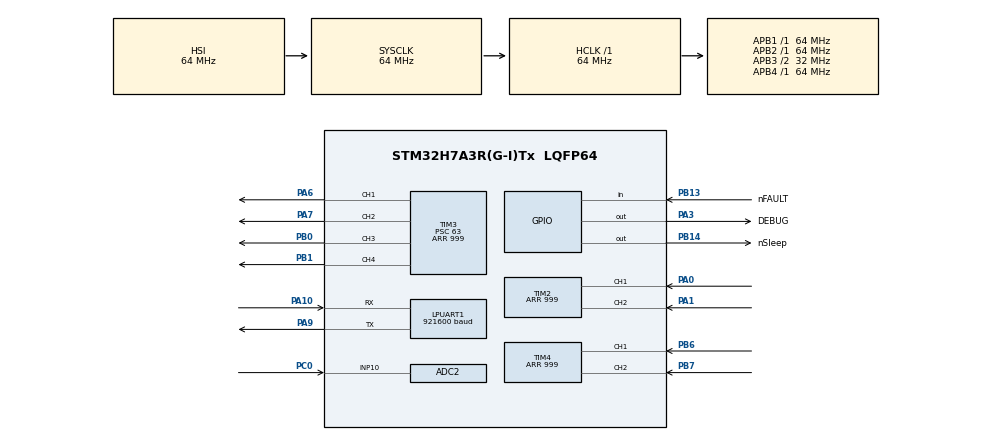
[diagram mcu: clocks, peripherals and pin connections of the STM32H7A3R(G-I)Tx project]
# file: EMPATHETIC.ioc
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ADC2.Channel-0\#ChannelRegularConversion=ADC_CHANNEL_10
ADC2.ClockPrescaler=ADC_CLOCK_ASYNC_DIV1
ADC2.ContinuousConvMode=DISABLE
ADC2.ConversionDataManagement=ADC_CONVERSIONDATA_DMA_CIRCULAR
ADC2.ExternalTrigConv=ADC_EXTERNALTRIG_T15_TRGO
ADC2.NbrOfConversionFlag=1
ADC2.OversamplingMode=ENABLE
ADC2.Ratio=16
ARM.CMSIS.5.7.0.CMSISJjCORE=true
ARM.CMSIS.5.7.0.CMSISJjDSP=Library
Dma.ADC2.0.Direction=DMA_PERIPH_TO_MEMORY
Dma.ADC2.0.EventEnable=DISABLE
Dma.ADC2.0.FIFOMode=DMA_FIFOMODE_DISABLE
Dma.ADC2.0.Instance=DMA1_Stream0
Dma.ADC2.0.MemDataAlignment=DMA_MDATAALIGN_WORD
Dma.ADC2.0.MemInc=DMA_MINC_ENABLE
Dma.ADC2.0.Mode=DMA_CIRCULAR
Dma.ADC2.0.PeriphDataAlignment=DMA_PDATAALIGN_WORD
Dma.ADC2.0.PeriphInc=DMA_PINC_DISABLE
Dma.ADC2.0.Polarity=HAL_DMAMUX_REQ_GEN_RISING
Dma.ADC2.0.Priority=DMA_PRIORITY_LOW
Dma.ADC2.0.RequestNumber=1
Dma.ADC2.0.SignalID=NONE
Dma.ADC2.0.SyncEnable=DISABLE
Dma.ADC2.0.SyncPolarity=HAL_DMAMUX_SYNC_NO_EVENT
Dma.ADC2.0.SyncRequestNumber=1
Dma.ADC2.0.SyncSignalID=NONE
Dma.Request0=ADC2
LPUART1.BaudRate=921600
Mcu.Family=STM32H7
Mcu.Name=STM32H7A3R(G-I)Tx
Mcu.Package=LQFP64
NVIC.DMA1_Stream0_IRQn=true\:0\:0\:false\:false\:true\:false\:true\:true
NVIC.PriorityGroup=NVIC_PRIORITYGROUP_4
PA0.Signal=S_TIM2_CH1_ETR
PA1.Signal=S_TIM2_CH2
PA10.Mode=Asynchronous
PA10.Signal=LPUART1_RX
PA3.GPIO_Label=DEBUG
PA3.GPIO_Speed=GPIO_SPEED_FREQ_MEDIUM
PA3.Signal=GPIO_Output
PA6.Signal=S_TIM3_CH1
PA7.Signal=S_TIM3_CH2
PA9.Mode=Asynchronous
PA9.Signal=LPUART1_TX
PB0.Signal=S_TIM3_CH3
PB1.Signal=S_TIM3_CH4
PB13.GPIO_Label=nFAULT
PB13.GPIO_PuPd=GPIO_PULLUP
PB13.Signal=GPIO_Input
PB14.GPIO_Label=nSleep
PB14.GPIO_PuPd=GPIO_NOPULL
PB14.PinState=GPIO_PIN_RESET
PB14.Signal=GPIO_Output
PB6.Signal=S_TIM4_CH1
PB7.Signal=S_TIM4_CH2
PC0.Signal=ADCx_INP10
ProjectManager.HeapSize=0x200
ProjectManager.StackSize=0x400
ProjectManager.TargetToolchain=STM32CubeIDE
RCC.ADCFreq_Value=50000000
RCC.APB1Freq_Value=64000000
RCC.APB2Freq_Value=64000000
RCC.APB3Freq_Value=32000000
RCC.APB4Freq_Value=64000000
RCC.CDPPRE=RCC_APB3_DIV2
RCC.CortexFreq_Value=64000000
RCC.DIVM2=16
RCC.DIVN2=50
RCC.DIVP2=4
RCC.HCLKFreq_Value=64000000
RCC.SYSCLKFreq_VALUE=64000000
RCC.USBFreq_Value=129000000
SH.ADCx_INP10.0=ADC2_INP10,IN10-Single-Ended
SH.S_TIM2_CH1_ETR.0=TIM2_CH1,Encoder_Interface
SH.S_TIM2_CH2.0=TIM2_CH2,Encoder_Interface
SH.S_TIM3_CH1.0=TIM3_CH1,PWM Generation1 CH1
SH.S_TIM3_CH2.0=TIM3_CH2,PWM Generation2 CH2
SH.S_TIM3_CH3.0=TIM3_CH3,PWM Generation3 CH3
SH.S_TIM3_CH4.0=TIM3_CH4,PWM Generation4 CH4
SH.S_TIM4_CH1.0=TIM4_CH1,Encoder_Interface
SH.S_TIM4_CH2.0=TIM4_CH2,Encoder_Interface
TIM15.Period=39
TIM15.Prescaler=63
TIM15.TIM_MasterOutputTrigger=TIM_TRGO_UPDATE
TIM2.EncoderMode=TIM_ENCODERMODE_TI12
TIM2.Period=999
TIM3.AutoReloadPreload=TIM_AUTORELOAD_PRELOAD_ENABLE
TIM3.Channel-PWM\ Generation1\ CH1=TIM_CHANNEL_1
TIM3.Channel-PWM\ Generation2\ CH2=TIM_CHANNEL_2
TIM3.Channel-PWM\ Generation3\ CH3=TIM_CHANNEL_3
TIM3.Channel-PWM\ Generation4\ CH4=TIM_CHANNEL_4
TIM3.Period=999
TIM3.Prescaler=63
TIM4.EncoderMode=TIM_ENCODERMODE_TI12
TIM4.Period=999
VP_ARM.CMSIS_VS_CMSISJjCORE_5.4.0_5.7.0.Mode=CMSISJjCORE
VP_ARM.CMSIS_VS_CMSISJjDSP_1.8.0_5.7.0.Mode=CMSISJjDSP
VP_TIM15_VS_ClockSourceINT.Mode=Internal
VP_TIM3_VS_ClockSourceINT.Mode=Internal
VP_VREFBUF_OUT.Mode=InternalMode
VREFBUF.TrimmingMode=__NULL
VREFBUF.VoltageScaling=SYSCFG_VREFBUF_VOLTAGE_SCALE0
board=custom

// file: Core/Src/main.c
/* USER CODE BEGIN Header */
/**
 ******************************************************************************
 * @file           : main.c
 * @brief          : Main program body
 ******************************************************************************
 * @attention
 *
 * Copyright (c) 2024 STMicroelectronics.
 * All rights reserved.
 *
 * This software is licensed under terms that can be found in the LICENSE file
 * in the root directory of this software component.
 * If no LICENSE file comes with this software, it is provided AS-IS.
 *
 ******************************************************************************
 */
/* USER CODE END Header */
#include "main.h"
#include "adc.h"
#include "dma.h"
#include "usart.h"
#include "tim.h"
#include "gpio.h"

/* USER CODE BEGIN Includes */
#include <stdio.h>
#include <stdlib.h>

#include "arm_math.h"
#include "FIR/fir_coefs.h"
/* USER CODE END Includes */

/* USER CODE BEGIN PD */
#define LEFT 350
#define RIGHT 275

#define OVERSAMPLING 16
#define ADC_RES 16
/* USER CODE END PD */

/* USER CODE BEGIN PV */
volatile uint32_t adc_buffer;
float adc_value;

arm_fir_instance_f32 fir_instance;
float32_t fir_in, fir_out, fir_state[FIR_LENGTH];
/* USER CODE END PV */

void SystemClock_Config(void);

/* USER CODE BEGIN 0 */

void HAL_ADC_ConvCpltCallback(ADC_HandleTypeDef *_hadc) {
  adc_value = adc_buffer * 3.3f / ((1 << ADC_RES) - 1) / OVERSAMPLING * 2;

  HAL_GPIO_TogglePin(DEBUG_GPIO_Port, DEBUG_Pin);

  fir_in = (float32_t) adc_value;
  arm_fir_f32(&fir_instance, &fir_in, &fir_out, 1);
}

void motor_left_forward(void) {
  __HAL_TIM_SET_COMPARE(&htim3, TIM_CHANNEL_1, LEFT);
  __HAL_TIM_SET_COMPARE(&htim3, TIM_CHANNEL_2, 0);
}

void motor_right_forward(void) {
  __HAL_TIM_SET_COMPARE(&htim3, TIM_CHANNEL_3, RIGHT);
  __HAL_TIM_SET_COMPARE(&htim3, TIM_CHANNEL_4, 0);
}

void motor_left_backward(void) {
  __HAL_TIM_SET_COMPARE(&htim3, TIM_CHANNEL_1, 0);
  __HAL_TIM_SET_COMPARE(&htim3, TIM_CHANNEL_2, LEFT);
}

void motor_right_backward(void) {
  __HAL_TIM_SET_COMPARE(&htim3, TIM_CHANNEL_3, 0);
  __HAL_TIM_SET_COMPARE(&htim3, TIM_CHANNEL_4, RIGHT);
}

void motor_left_stop(void) {
  __HAL_TIM_SET_COMPARE(&htim3, TIM_CHANNEL_1, 0);
  __HAL_TIM_SET_COMPARE(&htim3, TIM_CHANNEL_2, 0);
}

void motor_right_stop(void) {
  __HAL_TIM_SET_COMPARE(&htim3, TIM_CHANNEL_3, 0);
  __HAL_TIM_SET_COMPARE(&htim3, TIM_CHANNEL_4, 0);
}
/* USER CODE END 0 */

int main(void) {

  /* USER CODE BEGIN 1 */
  arm_fir_init_f32(&fir_instance, FIR_LENGTH, fir_coefficients, fir_state, 1);
  /* USER CODE END 1 */

  /* MCU Configuration--------------------------------------------------------*/

  /* Reset of all peripherals, Initializes the Flash interface and the Systick. */
  HAL_Init();

  /* Configure the system clock */
  SystemClock_Config();

  /* Initialize all configured peripherals */
  MX_GPIO_Init();
  MX_DMA_Init();
  MX_LPUART1_UART_Init();
  MX_TIM3_Init();
  MX_TIM4_Init();
  MX_ADC2_Init();
  MX_TIM2_Init();
  MX_TIM15_Init();
  /* USER CODE BEGIN 2 */
  HAL_ADCEx_Calibration_Start(&hadc2, ADC_CALIB_OFFSET,
  ADC_DIFFERENTIAL_ENDED);
  HAL_TIM_Encoder_Start(&htim2, TIM_CHANNEL_ALL);
  HAL_TIM_Encoder_Start(&htim4, TIM_CHANNEL_ALL);

  HAL_TIM_PWM_Start(&htim3, TIM_CHANNEL_1);
  HAL_TIM_PWM_Start(&htim3, TIM_CHANNEL_2);
  HAL_TIM_PWM_Start(&htim3, TIM_CHANNEL_3);
  HAL_TIM_PWM_Start(&htim3, TIM_CHANNEL_4);

  HAL_UART_Transmit(&hlpuart1, (uint8_t*) "Starting\r\n", 10, HAL_MAX_DELAY);
  HAL_TIM_Base_Start(&htim15);
  HAL_ADC_Start_DMA(&hadc2, (uint32_t*) &adc_buffer, 1);
  /* USER CODE END 2 */

  /* Infinite loop */
  /* USER CODE BEGIN WHILE */
  HAL_GPIO_WritePin(nSleep_GPIO_Port, nSleep_Pin, GPIO_PIN_SET);

  uint32_t line_num = 0;

  uint32_t uart_report = HAL_GetTick();

  while (1)
    ;

  while (1) {
    /* USER CODE END WHILE */

    /* USER CODE BEGIN 3 */
    uint8_t data[256];
    uint32_t counter2 = __HAL_TIM_GET_COUNTER(&htim2);
    uint32_t counter4 = __HAL_TIM_GET_COUNTER(&htim4);

    uint8_t value = (
        HAL_GPIO_ReadPin(nFAULT_GPIO_Port, nFAULT_Pin) == GPIO_PIN_SET ? 1 : 0);

    if (HAL_GetTick() - uart_report > 1000) {
      uint8_t len =
          sprintf((char*) data,
              "{%ld}: Hello World! Encoder2: %ld, Encoder4: %ld, nFault: %d, adc_value: %f, raw_adc: %ld\r\n",
              line_num++, counter2, counter4, value, adc_value, adc_buffer);
      HAL_UART_Transmit(&hlpuart1, data, len, HAL_MAX_DELAY);

      uart_report = HAL_GetTick();
    }

  }
  /* USER CODE END 3 */
}

void SystemClock_Config(void) {
  RCC_OscInitTypeDef RCC_OscInitStruct = { 0 };
  RCC_ClkInitTypeDef RCC_ClkInitStruct = { 0 };

  /*AXI clock gating */
  RCC->CKGAENR = 0xFFFFFFFF;

  /** Supply configuration update enable
   */
  HAL_PWREx_ConfigSupply(PWR_LDO_SUPPLY);

  /** Configure the main internal regulator output voltage
   */
  __HAL_PWR_VOLTAGESCALING_CONFIG(PWR_REGULATOR_VOLTAGE_SCALE3);

  while (!__HAL_PWR_GET_FLAG(PWR_FLAG_VOSRDY)) {
  }

  /** Macro to configure the PLL clock source
   */
  __HAL_RCC_PLL_PLLSOURCE_CONFIG(RCC_PLLSOURCE_HSI);

  /** Initializes the RCC Oscillators according to the specified parameters
   * in the RCC_OscInitTypeDef structure.
   */
  RCC_OscInitStruct.OscillatorType = RCC_OSCILLATORTYPE_HSI;
  RCC_OscInitStruct.HSIState = RCC_HSI_DIV1;
  RCC_OscInitStruct.HSICalibrationValue = 64;
  RCC_OscInitStruct.PLL.PLLState = RCC_PLL_NONE;
  if (HAL_RCC_OscConfig(&RCC_OscInitStruct) != HAL_OK) {
    Error_Handler();
  }

  /** Initializes the CPU, AHB and APB buses clocks
   */
  RCC_ClkInitStruct.ClockType = RCC_CLOCKTYPE_HCLK | RCC_CLOCKTYPE_SYSCLK
      | RCC_CLOCKTYPE_PCLK1 | RCC_CLOCKTYPE_PCLK2 | RCC_CLOCKTYPE_D3PCLK1
      | RCC_CLOCKTYPE_D1PCLK1;
  RCC_ClkInitStruct.SYSCLKSource = RCC_SYSCLKSOURCE_HSI;
  RCC_ClkInitStruct.SYSCLKDivider = RCC_SYSCLK_DIV1;
  RCC_ClkInitStruct.AHBCLKDivider = RCC_HCLK_DIV1;
  RCC_ClkInitStruct.APB3CLKDivider = RCC_APB3_DIV2;
  RCC_ClkInitStruct.APB1CLKDivider = RCC_APB1_DIV1;
  RCC_ClkInitStruct.APB2CLKDivider = RCC_APB2_DIV1;
  RCC_ClkInitStruct.APB4CLKDivider = RCC_APB4_DIV1;

  if (HAL_RCC_ClockConfig(&RCC_ClkInitStruct, FLASH_LATENCY_2) != HAL_OK) {
    Error_Handler();
  }
}

void Error_Handler(void) {
  __disable_irq();
  while (1) {
  }
}
